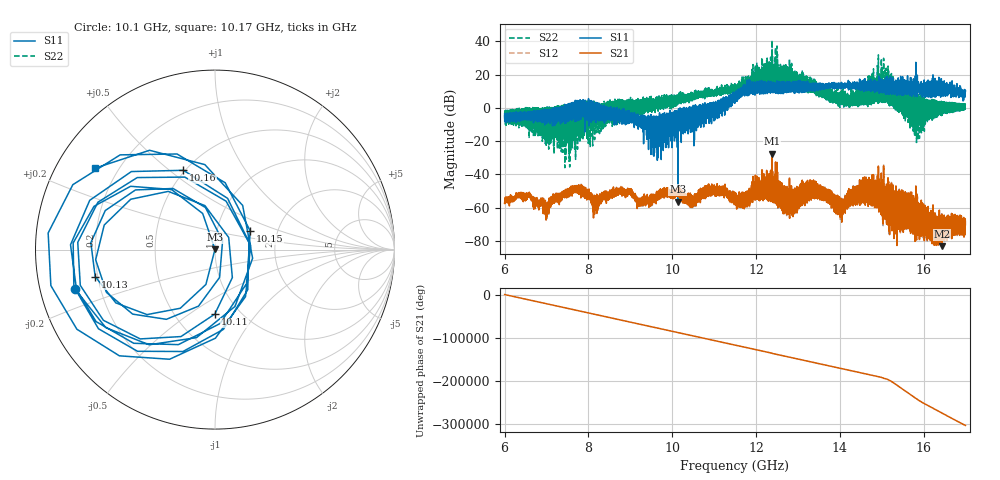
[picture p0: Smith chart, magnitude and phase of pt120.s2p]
#  HZ  S  RI  R  50.00
! Rohde & Schwarz Vector Network Analyzer
! Rohde-Schwarz,ZNA67-2Port,1332450062101215,3.01
! Created: UTC 10/19/2026, 3:53:59 PM
! freq[Hz]  re:S11  im:S11  re:S21  im:S21  re:S12  im:S12  re:S22  im:S22
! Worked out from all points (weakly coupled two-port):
!   11001 points, 6 GHz to 17 GHz, reference 50 ohm
!   highest |S21| = -27.57 dB at 12.38 GHz (marker M1); lowest = -83.1 dB at 16.44 GHz (marker M2)
!   lowest |S11| = -56.3 dB at 10.13 GHz (marker M3), VSWR 1.00, Z = 50 + j0.153 ohm
!   |S11| at or under -10 dB: 9.385366 GHz to 9.390261 GHz (4.895 MHz wide, 0.0521 % of centre); 9.397556 GHz to 9.402217 GHz (4.661 MHz wide, 0.0496 % of centre); 9.40976 GHz to 9.414309 GHz (4.549 MHz wide, 0.0483 % of centre) (the widest 3 of 131)
!   |S22| runs from -35.9 to 40.5 dB; largest |S21 - S12| = 0.0024
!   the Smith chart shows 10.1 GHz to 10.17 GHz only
!   S11 on the Smith chart (normalised r, x): 10.1 GHz: 0.11, -0.14; 10.11 GHz: 0.77, -0.64; 10.13 GHz: 0.19, -0.11; 10.15 GHz: 1.45, +0.32; 10.16 GHz: 0.49, +0.56; 10.17 GHz: 0.12, +0.30
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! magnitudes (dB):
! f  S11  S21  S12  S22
! 6 GHz  -4.9  -57.2  -57.0  -3.0
! 6.569 GHz  -2.7  -52.9  -52.9  -0.7
! 7.007 GHz  -5.2  -58.4  -58.5  -9.8
! 7.834 GHz  -5.3  -51.5  -51.3  -14.2
! 8.152 GHz  0.3  -54.8  -54.6  -0.2
! 9.667 GHz  -9.5  -53.4  -53.7  -0.9
! 10.1 GHz  -1.8  -49.6  -49.7  2.7
! 10.11 GHz  -8.9  -52.3  -52.3  4.5
! 10.13 GHz  -3.3  -51.5  -51.4  3.7
! 10.13 GHz  -56.3  -52.7  -52.8  4.3
! 10.15 GHz  -13.1  -52.1  -52.1  4.4
! 10.16 GHz  -6.5  -49.6  -49.7  7.7
! 10.17 GHz  -1.9  -48.4  -48.3  8.3
! 11.5 GHz  4.3  -56.4  -56.5  9.8
! 12.38 GHz  9.8  -27.6  -27.6  40.5
! 12.86 GHz  14.2  -58.9  -59.4  13.4
! 13.33 GHz  11.4  -51.3  -51.5  11.0
! 14.05 GHz  14.3  -59.6  -59.0  5.1
! 14.62 GHz  11.0  -56.5  -56.7  3.4
! 15.17 GHz  10.7  -67.0  -67.5  4.3
! 16.44 GHz  8.8  -83.1  -80.9  -4.4
! 17 GHz  10.0  -70.1  -69.3  1.6
